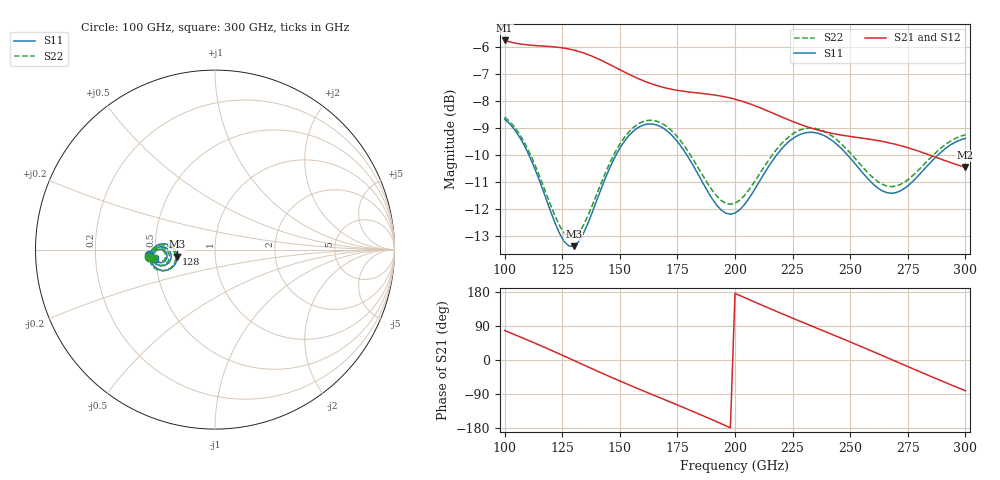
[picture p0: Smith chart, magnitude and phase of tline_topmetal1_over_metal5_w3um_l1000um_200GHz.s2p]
#  GHZ S DB R 50
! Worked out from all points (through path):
!   101 points, 100 GHz to 300 GHz, reference 50 ohm
!   highest |S21| = -5.75 dB at 100 GHz (marker M1); lowest = -10.4 dB at 300 GHz (marker M2)
!   group delay of S21, straight-line fit = 7.21 ps
!   lowest |S11| = -13.4 dB at 130 GHz (marker M3), VSWR 1.55, Z = 32.5 - j2.62 ohm
!   |S11| at or under -10 dB: 110.6 GHz to 148.3 GHz (37.7 GHz wide, 29.1 % of centre); 179.2 GHz to 218 GHz (38.78 GHz wide, 19.5 % of centre); 248.9 GHz to 287.9 GHz (39 GHz wide, 14.5 % of centre)
!   |S22| runs from -13.0 to -8.6 dB; largest |S21 - S12| = 4.2e-14
!   S11 on the Smith chart (normalised r, x): 100 GHz: 0.46, -0.04; 128 GHz: 0.65, -0.03; 300 GHz: 0.49, -0.06
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100  -8.67 -174.9  -5.75 77.9  -5.75 77.9  -8.59 -174.0
108  -9.55 176.9  -5.89 57.7  -5.89 57.7  -9.44 178.1
116  -11.14 173.5  -5.95 37.0  -5.95 37.0  -10.96 174.8
128  -13.36 -173.6  -6.07 4.5  -6.07 4.5  -13.03 -172.9
130  -13.36 -169.7  -6.11 -1.1  -6.11 -1.1  -13.03 -169.2
134  -12.93 -162.7  -6.21 -12.1  -6.21 -12.1  -12.62 -162.7
142  -11.22 -156.7  -6.49 -34.0  -6.49 -34.0  -11.01 -157.0
150  -9.74 -159.5  -6.83 -55.3  -6.83 -55.3  -9.59 -159.6
158  -8.97 -166.2  -7.16 -75.9  -7.16 -75.9  -8.84 -166.0
168  -8.95 -175.3  -7.47 -101.0  -7.47 -101.0  -8.81 -174.7
176  -9.60 179.0  -7.61 -121.1  -7.61 -121.1  -9.42 179.8
186  -11.01 177.3  -7.71 -146.9  -7.71 -146.9  -10.74 178.2
200  -12.14 -170.4  -7.92 175.9  -7.92 175.9  -11.77 -170.5
208  -11.34 -163.7  -8.15 154.5  -8.15 154.5  -11.04 -164.4
218  -9.99 -163.5  -8.50 128.3  -8.50 128.3  -9.79 -164.3
234  -9.15 -172.8  -9.02 87.8  -9.02 87.8  -8.99 -173.1
244  -9.58 -178.4  -9.22 62.8  -9.22 62.8  -9.41 -178.5
254  -10.51 179.9  -9.35 37.4  -9.35 37.4  -10.30 179.8
268  -11.40 -173.1  -9.56 1.0  -9.56 1.0  -11.16 -173.5
276  -11.06 -168.1  -9.74 -19.9  -9.74 -19.9  -10.84 -168.8
286  -10.16 -166.4  -10.04 -45.8  -10.04 -45.8  -9.99 -167.2
300  -9.37 -171.2  -10.45 -81.2  -10.45 -81.2  -9.25 -171.7
